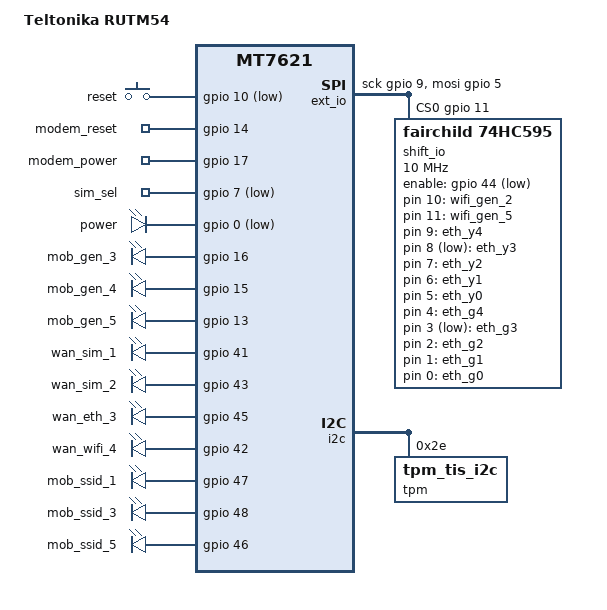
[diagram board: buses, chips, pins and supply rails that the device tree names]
#include "mt7621-teltonika-rutm-common.dtsi"

/ {
	compatible = "teltonika,rutm", "mediatek,mt7621-soc";
	model = "Teltonika RUTM54";

	ext_io {
		compatible = "spi-gpio";
		#address-cells = <1>;
		#size-cells = <0>;

		gpio-sck = <&gpio 9 GPIO_ACTIVE_HIGH>;	// 74HC595 SRCLK (Serial Clock)
		gpio-mosi = <&gpio 5 GPIO_ACTIVE_HIGH>;	// 74HC595 SER (Serial)
		cs-gpios = <&gpio 11 GPIO_ACTIVE_HIGH>;	// 74HC595 RCLK (Register Clock)
		num-chipselects = <1>;

		shift_io: shift_io@0 {
			compatible = "fairchild,74hc595";
			reg = <0>;
			gpio-controller;
			#gpio-cells = <2>;
			registers-number = <2>;
			spi-max-frequency = <10000000>;
			enable-gpios = <&gpio 44 GPIO_ACTIVE_LOW>;
		};
	};

	keys {
		compatible = "gpio-keys";

		reset {
			label = "reset";
			gpios = <&gpio 10 GPIO_ACTIVE_LOW>;
			linux,code = <KEY_RESTART>;
		};
	};

	gpio-export {
		compatible = "gpio-export";
		#size-cells = <0>;

		gpio_modem_reset {
			gpio-export,name = "modem_reset";
			gpio-export,output = <0>;
			gpios = <&gpio 14 GPIO_ACTIVE_HIGH>;
		};

		gpio_modem_power {
			gpio-export,name = "modem_power";
			gpio-export,output = <1>; // tmp
			gpios = <&gpio 17 GPIO_ACTIVE_HIGH>;
		};

		gpio_sim_select {
			gpio-export,name = "sim_sel";
			gpio-export,output = <1>;
			gpios = <&gpio 7 GPIO_ACTIVE_LOW>;
		};
	};

	leds {
		compatible = "gpio-leds";

		led_power {
			label = "power";
			gpios = <&gpio 0 GPIO_ACTIVE_LOW>;
			default-state = "on";
			retain-state-shutdown;
		};

		led_gen_3 {
			label = "mob_gen_3";
			gpios = <&gpio 16 GPIO_ACTIVE_HIGH>;
		};

		led_gen_4 {
			label = "mob_gen_4";
			gpios = <&gpio 15 GPIO_ACTIVE_HIGH>;
		};

		led_gen_5 {
			label = "mob_gen_5";
			gpios = <&gpio 13 GPIO_ACTIVE_HIGH>;
		};

		led_wifi_24 {
			label = "wifi_gen_2";
			gpios = <&shift_io 10 GPIO_ACTIVE_HIGH>;
		};

		led_wifi_50 {
			label = "wifi_gen_5";
			gpios = <&shift_io 11 GPIO_ACTIVE_HIGH>;
		};

		led_wan_sim1 {
			label = "wan_sim_1";
			gpios = <&gpio 41 GPIO_ACTIVE_HIGH>;
		};

		led_wan_sim2 {
			label = "wan_sim_2";
			gpios = <&gpio 43 GPIO_ACTIVE_HIGH>;
		};

		led_wan_eth {
			label = "wan_eth_3";
			gpios = <&gpio 45 GPIO_ACTIVE_HIGH>;
		};

		led_wan_wifi {
			label = "wan_wifi_4";
			gpios = <&gpio 42 GPIO_ACTIVE_HIGH>;
		};

		led_ssid_1 {
			label = "mob_ssid_1";
			gpios = <&gpio 47 GPIO_ACTIVE_HIGH>;
			linux,default-trigger = "timer"; // only
		};

		led_ssid_3 {
			label = "mob_ssid_3";
			gpios = <&gpio 48 GPIO_ACTIVE_HIGH>;
			linux,default-trigger = "timer"; // only
		};

		led_ssid_5 {
			label = "mob_ssid_5";
			gpios = <&gpio 46 GPIO_ACTIVE_HIGH>;
			linux,default-trigger = "timer"; //only
		};

		led_eth_y4 {
			label = "eth_y4";
			gpios = <&shift_io 9 GPIO_ACTIVE_HIGH>;
		};

		led_eth_y3 {
			label = "eth_y3";
			gpios = <&shift_io 8 GPIO_ACTIVE_LOW>;
		};

		led_eth_y2 {
			label = "eth_y2";
			gpios = <&shift_io 7 GPIO_ACTIVE_HIGH>;
		};

		led_eth_y1 {
			label = "eth_y1";
			gpios = <&shift_io 6 GPIO_ACTIVE_HIGH>;
		};

		led_eth_y0 {
			label = "eth_y0";
			gpios = <&shift_io 5 GPIO_ACTIVE_HIGH>;
		};

		led_eth_g4 {
			label = "eth_g4";
			gpios = <&shift_io 4 GPIO_ACTIVE_HIGH>;
		};

		led_eth_g3 {
			label = "eth_g3";
			gpios = <&shift_io 3 GPIO_ACTIVE_LOW>;
		};

		led_eth_g2 {
			label = "eth_g2";
			gpios = <&shift_io 2 GPIO_ACTIVE_HIGH>;
		};

		led_eth_g1 {
			label = "eth_g1";
			gpios = <&shift_io 1 GPIO_ACTIVE_HIGH>;
		};

		led_eth_g0 {
			label = "eth_g0";
			gpios = <&shift_io 0 GPIO_ACTIVE_HIGH>;
		};
	};

	tlt_gpios { // Modify according to wiki page "DTS syntax with Libgpiod changes"
		gpiochip_info {
			hw_0 {
				hwver = <0>;
				gpiochip_count = <4>;

				gpiochip_0 = <32>; // Built-in
				gpiochip_1 = <32>; // Built-in
				gpiochip_2 = <32>; // Built-in
				gpiochip_3 = <16>; // Shift Register
			};
		};

		ioman {
			GPIO_8 {
			 	line_name = "GPIO_OUT_1";
			};
			GPIO_12 {
			 	line_name = "GPIO_IN_1";
			 	active_low;
			};
		};

		misc {
			GPIO_109 {
				line_name = "GPIO_MODEM_RESET_1";
			};
			GPIO_108 {
				line_name = "GPIO_MODEM_POWER_1";
			};
			GPIO_7 {
				line_name = "GPIO_SIM_SELECT";
				active_low;
			};
			GPIO_44 {
				line_name = "GPIO_SHIFT_OE";
				active_low;
			};
		};
	};
};

&state_default {
	gpio {
		groups = "wdt", "jtag", "sdhci", "uart2", "uart3";
		function = "gpio";
	};
};

&switch0 {
	ports {
		port@0 {
			status = "okay";
			label = "lan1";
		};

		port@1 {
			status = "okay";
			label = "lan2";
		};

		port@2 {
			status = "okay";
			label = "lan3";
		};

		port@3 {
			status = "okay";
			label = "lan4";
		};
	};
};

&i2c {
	status = "okay";

	tpm: tpm@0x2e {
		compatible = "tpm_tis_i2c";
		reg = <0x2e>;
		status = "okay";
	};
};

&mnfinfo {
	simpin3 {
		default = "";
		sec;
	};

	simpin4 {
		default = "";
		sec;
	};

	sim_cfg {
		default = "1111020_1112020";
		keep-sim-presence;
	};
};
